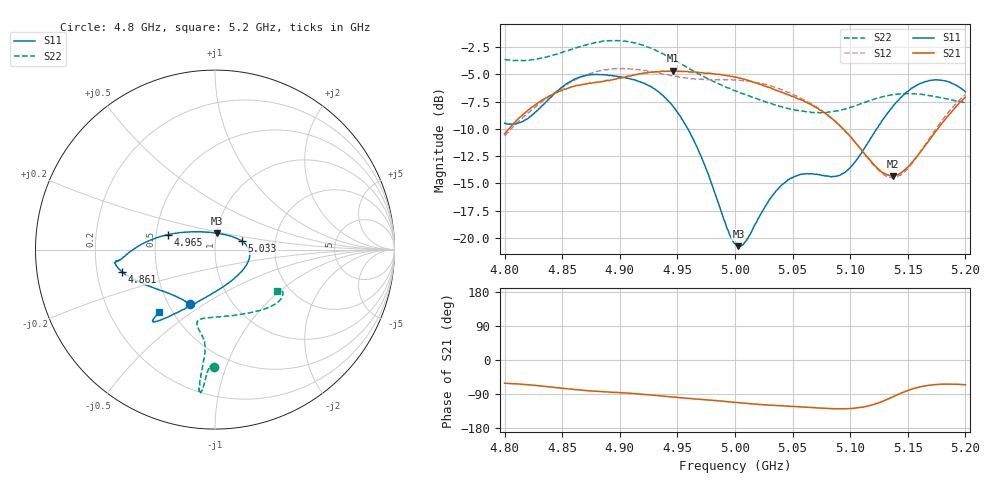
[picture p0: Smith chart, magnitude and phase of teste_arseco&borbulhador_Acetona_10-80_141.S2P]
! Network Analyzer HP8722D
! Hewlett-Packard
! Data name: Linha & Wilkinson
! Saver's name: Rodrigo Anjos
! Comments: Teste da utilização de aquisição
! continua pelo VNA HP8722D
! Time and date: 17/4/2025 15:32
!  Frequency  S11  S21  S12  S22
# HZ  S  MA R 50
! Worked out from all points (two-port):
!   401 points, 4.8 GHz to 5.2 GHz, reference 50 ohm
!   highest |S21| = -4.69 dB at 4.946 GHz (marker M1); lowest = -14.3 dB at 5.137 GHz (marker M2)
!   |S21| within 3 dB of the highest: 4.828 GHz to 5.064 GHz (236 MHz wide, 4.77 % of centre); 5.1943 GHz to end of sweep
!   lowest |S11| = -20.7 dB at 5.003 GHz (marker M3), VSWR 1.20, Z = 50.1 + j9.23 ohm
!   |S11| at or under -10 dB: 4.959 GHz to 5.123 GHz (163.9 MHz wide, 3.25 % of centre)
!   |S22| runs from -8.5 to -1.9 dB; largest |S21 - S12| = 0.87
!   S11 on the Smith chart (normalised r, x): 4.8 GHz: 0.64, -0.44; 4.861 GHz: 0.31, -0.11; 4.965 GHz: 0.58, +0.10; 5.033 GHz: 1.35, +0.13; 5.2 GHz: 0.43, -0.38
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4.8e9  0.3353 -114.7  0.2999 -61.4  0.2935 -175.6  0.6569 -90.6
4.819e9  0.35 -134.8  0.3795 -65.0  0.3679 -174.6  0.6514 -92.1
4.861e9  0.535 -166.7  0.4958 -78.0  0.5288 -177.9  0.7387 -94.5
4.867e9  0.5492 -169.1  0.5042 -79.8  0.5472 -178.9  0.7562 -94.7
4.899e9  0.547 -173.5  0.5392 -86.0  0.5962 174.5  0.8004 -96.1
4.934e9  0.4657 -179.2  0.5768 -94.5  0.5693 171.0  0.7101 -96.4
4.946e9  0.4017 175.1  0.5827 -97.8  0.5541 171.5  0.6592 -96.1
4.965e9  0.2752 162.3  0.5755 -102.9  0.5348 173.1  0.5775 -95.5
5e9  0.0942 95.5  0.5457 -112.0  0.5306 175.4  0.4726 -99.6
5.003e9  0.09177 84.0  0.54 -112.8  0.5286 175.3  0.4658 -100.3
5.009e9  0.09621 63.1  0.5312 -114.2  0.5254 175.3  0.4534 -101.6
5.033e9  0.1578 17.3  0.4817 -119.6  0.4929 173.9  0.4099 -103.5
5.048e9  0.1874 2.1  0.4498 -122.1  0.4595 173.3  0.389 -99.9
5.067e9  0.1966 -17.9  0.4055 -125.4  0.4089 173.0  0.3753 -89.7
5.086e9  0.1913 -48.2  0.345 -128.6  0.3461 173.4  0.3802 -75.4
5.097e9  0.203 -70.5  0.3031 -128.6  0.3038 174.6  0.3917 -66.4
5.122e9  0.3099 -108.8  0.2128 -115.7  0.2109 -170.4  0.4345 -49.1
5.134e9  0.3819 -118.5  0.1934 -101.4  0.1898 -154.3  0.4503 -43.1
5.137e9  0.3996 -120.1  0.1924 -97.2  0.1893 -149.5  0.4534 -41.8
5.15e9  0.4691 -125.8  0.2111 -80.7  0.208 -130.1  0.4585 -37.0
5.17e9  0.5273 -130.3  0.287 -66.0  0.2923 -112.2  0.448 -32.4
5.2e9  0.4667 -131.6  0.4412 -65.3  0.4533 -107.4  0.4161 -34.0
